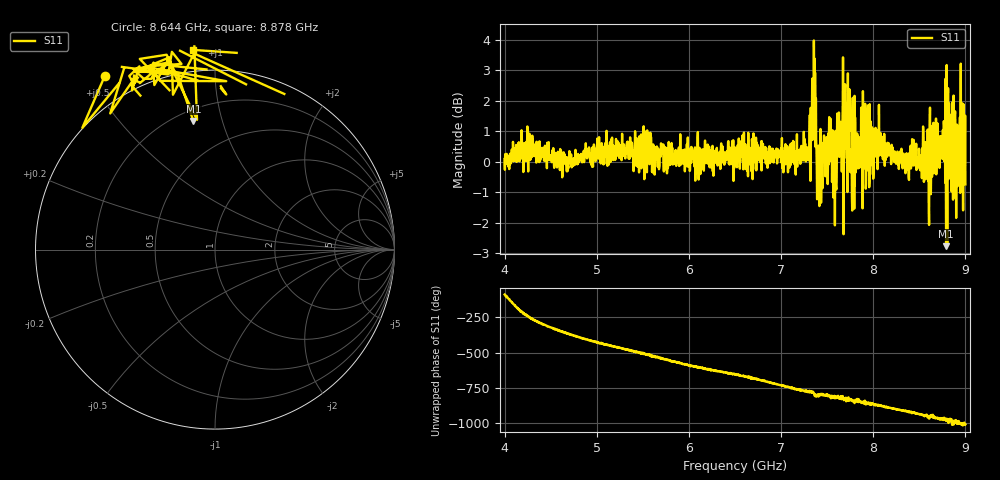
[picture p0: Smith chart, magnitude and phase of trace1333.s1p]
! Created with skrf 1.8.0 (http://scikit-rf.org).
# Hz S RI R 50.0
!freq ReS11 ImS11
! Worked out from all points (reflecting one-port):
!   1601 points, 4 GHz to 9 GHz, reference 50 ohm
!   lowest |S11| = -2.8 dB at 8.791 GHz (marker M1), VSWR 6.32, Z = 13.3 + j40.5 ohm
!   phase of S11 starts at -88 deg and turns -923 deg over the sweep
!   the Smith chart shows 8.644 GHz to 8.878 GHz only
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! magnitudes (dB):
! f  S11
! 4 GHz  0.1
! 4.247 GHz  1.2
! 4.625 GHz  -0.5
! 5.25 GHz  0.2
! 5.875 GHz  0.3
! 6.5 GHz  0.5
! 7.125 GHz  0.3
! 7.294 GHz  0.3
! 7.316 GHz  -0.5
! 7.347 GHz  2.6
! 7.362 GHz  3.4
! 7.4 GHz  -0.7
! 7.412 GHz  -1.1
! 7.538 GHz  1.4
! 7.578 GHz  0.7
! 7.631 GHz  0.2
! 7.688 GHz  1.6
! 7.75 GHz  -0.3
! 7.769 GHz  -1.1
! 7.891 GHz  0.8
! 8.375 GHz  0.2
! 8.441 GHz  -0.1
! 8.612 GHz  1.1
! 8.656 GHz  1.1
! 8.791 GHz  -2.8
! 8.856 GHz  -0.5
! 8.959 GHz  1.8
! 9 GHz  -0.7
